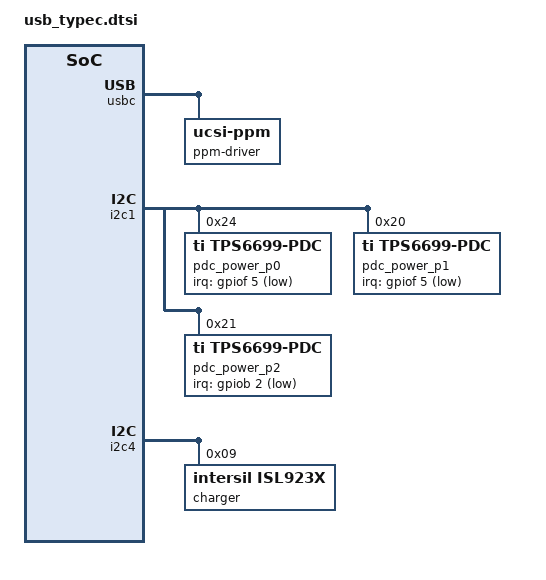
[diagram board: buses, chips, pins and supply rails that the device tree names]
/* Copyright 2026 The ChromiumOS Authors
 * Use of this source code is governed by a BSD-style license that can be
 * found in the LICENSE file.
 */

#include <usbc-policy.dtsi>

 /{
	usbc {
		#address-cells = <1>;
		#size-cells = <0>;
		usbc_port0: port0@0 {
			compatible = "named-usbc-port";
			reg = <0>;
			chg = <&charger>;
			pdc = <&pdc_power_p0>;
			pd-retimer;
			policy = <&cros_policy>;
		};
		usbc_port1: port1@1 {
			compatible = "named-usbc-port";
			reg = <1>;
			pdc = <&pdc_power_p1>;
			pd-retimer;
			policy = <&cros_policy>;
		};
		usbc_port2: port2@2 {
			compatible = "named-usbc-port";
			reg = <2>;
			pdc = <&pdc_power_p2>;
			pd-retimer;
			policy = <&cros_policy>;
		};
		ppm-driver {
			compatible = "ucsi-ppm";
			b-num-alt-modes = <2>;
		};
	};
};

&i2c1 {
	pdc_power_p0: tps6699-pdc@24 {
		compatible = "ti,tps6699-pdc";
		reg = <0x24>;
		irq-gpios = <&gpiof 5 GPIO_ACTIVE_LOW>;
		port-index-on-chip = <0x2>;
		no-fw-update;
		ccd;
		frs-supported;
	};
	pdc_power_p1: tps6699-pdc@20 {
		compatible = "ti,tps6699-pdc";
		reg = <0x20>;
		irq-gpios = <&gpiof 5 GPIO_ACTIVE_LOW>;
		port-index-on-chip = <0x1>;
		frs-supported;
	};
	pdc_power_p2: tps6699-pdc@21 {
		compatible = "ti,tps6699-pdc";
		reg = <0x21>;
		irq-gpios = <&gpiob 2 GPIO_ACTIVE_LOW>;
		port-index-on-chip = <0x1>;
		frs-supported;
	};
};

&i2c4 {
	charger: isl9238@9 {
		compatible = "intersil,isl923x";
		status = "okay";
		reg = <0x9>;
	};
};
